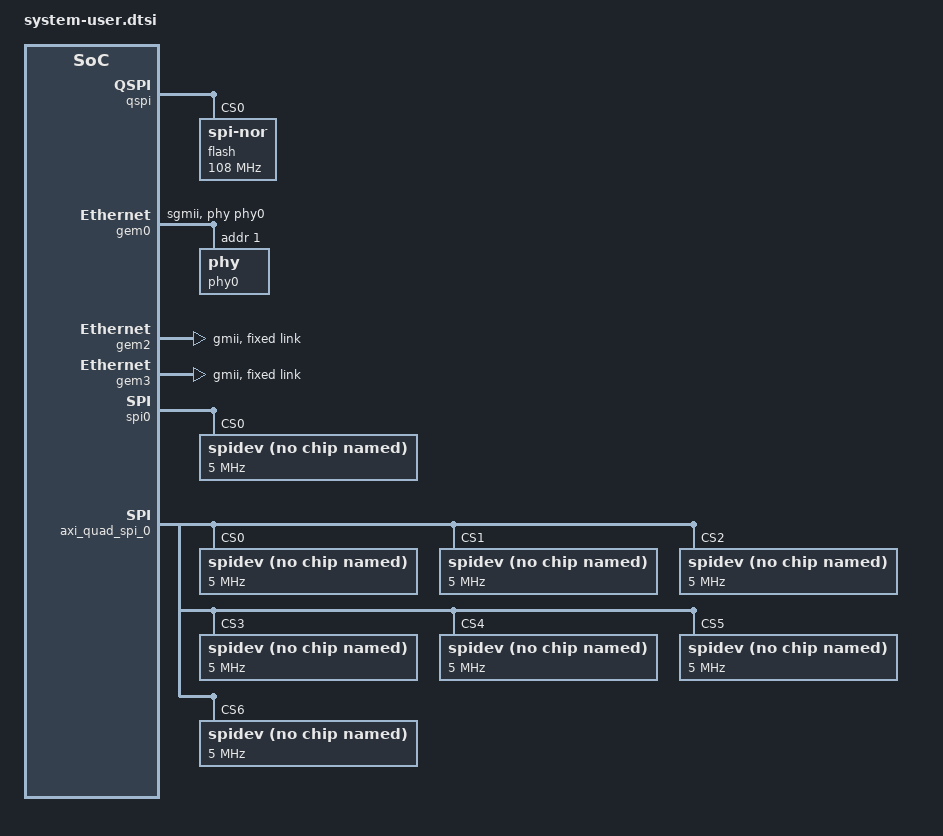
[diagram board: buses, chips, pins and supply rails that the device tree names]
/include/ "system-conf.dtsi"

/ {
    reserved-memory {
        #address-cells = <2>;
        #size-cells = <2>;
        ranges;

        //rts capture data reserved
        reserved: buffer@0 {
            no-map;
            reg = <0x0 0x38000000 0x0 0x4000000>;
        };

        // log system and RACD reserved
        rmdom0domain: rmdom0domain@22000000 {
            reg = <0x0 0x22000000 0x0 0xE000000>; // 224M
            no-map;
        };
    };

    rmdom0: rmdom0 {
        #address-cells = <1>;
        #size-cells = <1>;
        compatible = "linux,rmdom";
        memory-domain = <&rmdom0domain>;
        ranges;

        logsys@1000 {
            compatible = "linux,rmdom-rmem";
            reg = <0x1000 0x7FFF000>; // 128M - 4K - 4K for log system //skip RMDOM header
        };

        racd@8000000 {
            compatible = "linux,rmdom-rmem";
            reg = <0x8000000 0x4FFF000>; // 80 MB - 4K for Retrospective Analysis Core Dump
        };

        ramoops@5000000 { //support pstore (Persistent store support enabled in kernel)
            compatible = "linux,rmdom-ramoops";
            reg = <0xD000000 0x1000000>;//16MB
            record-size = <0x10000>;
            console-size = <0x10000>;
            ftrace-size = <0x10000>;
            rmsg-size = <0x10000>;
        };
    };

    rts_mem@0x38000000 {
        compatible = "generic-uio";
        reg = <0x0 0x38000000 0x0 0x4000000>;
    };
};

&qspi {
    status = "okay";
    is-dual = <0>;
    num-cs = <1>;
    flash@0 {
        compatible ="jedec,spi-nor";
        reg = <0x0>;
        spi-tx-bus-width = <1>;
        spi-rx-bus-width = <4>;
        spi-max-frequency = <108000000>;
        #address-cells = <1>;
        #size-cells = <1>;
    };
};

&gem0 {
    status = "okay";
    phy-handle = <&phy0>;
    phy-mode = "sgmii";
    is-internal-pcspma = <0x1>;
    phy0: phy@1 {
        reg = <0x1>;
    };
};

&gem1 {
    status = "disabled";
};

&gem2 {
    status = "okay";
    phy-mode = "gmii";
    fixed-link {
        speed = <1000>;
        full-duplex;
    };
};

&gem3 {
    status = "okay";
    phy-mode = "gmii";
    fixed-link {
        speed = <1000>;
        full-duplex;
    };
};

&flash0 {
    partition@21 {
        label = "reserved3";
        reg = <0x01000000 0x01000000>;
    };
};

&spi0 {
    status = "okay";
    num-cs = <1>;
    u-boot,dm-pre-reloc;
    spidev@0 {
        compatible="rohm,dh2228fv";
        reg = <0>;
        spi-max-frequency = <5000000>;
    };
};

&axi_quad_spi_0 {
    status = "okay";
    spidev@0 {
        compatible="rohm,dh2228fv";
        reg = <0>;
        spi-max-frequency = <5000000>;
    };

    spidev@1 {
        compatible="rohm,dh2228fv";
        reg = <1>;
        spi-max-frequency = <5000000>;
    };

    spidev@2 {
        compatible="rohm,dh2228fv";
        reg = <2>;
        spi-max-frequency = <5000000>;
    };

    spidev@3 {
        compatible="rohm,dh2228fv";
        reg = <3>;
        spi-max-frequency = <5000000>;
    };

    spidev@4 {
        compatible="rohm,dh2228fv";
        reg = <4>;
        spi-max-frequency = <5000000>;
    };

    spidev@5 {
        compatible="rohm,dh2228fv";
        reg = <5>;
        spi-max-frequency = <5000000>;
    };

    spidev@6 {
        compatible="rohm,dh2228fv";
        reg = <6>;
        spi-max-frequency = <5000000>;
    };
};
*/
&sdhci0 {
        status = "okay";
        bus-width = <8>;
        non-removable;
        cap-mmc-highspeed;
        cap-sd-highspeed;
        disable-wp;
        no-1-8-v;
};

&amba_pl {
    fpga: fpga@a0000000 {
        compatible = "generic-uio";
        reg = <0x0 0xA0000000 0x0 0x20000000>;
    };

    dpd_0_USER: dpd_user@a4000000 {
        compatible = "generic-uio";
        reg = <0x0 0xa4000000 0x0 0x20000>;
    };
};
/*
&dpd_0{
    compatible = "generic-uio";
    reg = <0x0 0xa8000000 0x0 0x4000000>;
};
*/

&gpio_keys {
	status = "okay";

    pl_irq1{
        label = "PAP";
        linux,code = <2>;
        interrupt-parent = <&axi_intc_0>;
        interrupts = <1 0>;
        debounce-interval = <0>;
    };

    pl_irq4{
        label = "AFE";
        linux,code = <5>;
        interrupt-parent = <&axi_intc_0>;
        interrupts = <4 0>;
        debounce-interval = <0>;
    };

    pl_irq5{
        label = "RTS";
        linux,code = <6>;
        interrupt-parent = <&axi_intc_0>;
        interrupts = <5 0>;
        debounce-interval = <0>;
    };

    pl_irq6{
        label = "ORAN_IF";
        linux,code = <7>;
        interrupt-parent = <&axi_intc_0>;
        interrupts = <6 1>;
        debounce-interval = <0>;
    };

    pl_irq7{
        label = "AFE_OV";
        linux,code = <8>;
        interrupt-parent = <&axi_intc_0>;
        interrupts = <7 0>;
        debounce-interval = <0>;
    };

    pl_irq10{
        label = "RADIO_CTRL_ZU67";
        linux,code = <11>;
        interrupt-parent = <&axi_intc_0>;
        interrupts = <10 0>;
        debounce-interval = <0>;
    };

    pl_irq19{
        label = "PRACH_IP_EVENT";
        linux,code = <20>;
        interrupt-parent = <&axi_intc_0>;
        interrupts = <19 0>;
        debounce-interval = <0>;
    };

    pl_irq20{
        label = "PRACH_CFG_UPDATE";
        linux,code = <21>;
        interrupt-parent = <&axi_intc_0>;
        interrupts = <20 0>;
        debounce-interval = <0>;
    };

    pl_irq21{
        label = "PRACH";
        linux,code = <22>;
        interrupt-parent = <&axi_intc_0>;
        interrupts = <21 0>;
        debounce-interval = <0>;
    };

    pl_irq22{
        label = "PRACH_OVERFLOW";
        linux,code = <23>;
        interrupt-parent = <&axi_intc_0>;
        interrupts = <22 0>;
        debounce-interval = <0>;
    };

    pl_irq25{
        label = "UART";
        linux,code = <26>;
        interrupt-parent = <&axi_intc_0>;
        interrupts = <25 0>;
        debounce-interval = <0>;
    };

};
